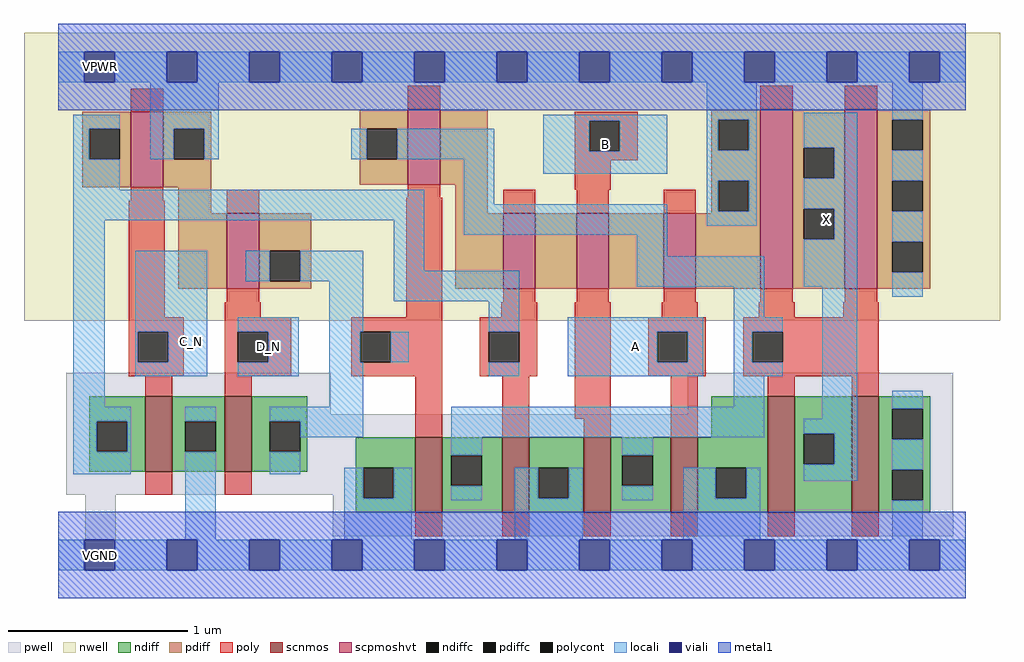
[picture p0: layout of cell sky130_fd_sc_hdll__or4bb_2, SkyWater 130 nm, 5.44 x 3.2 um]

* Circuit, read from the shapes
.subckt sky130_fd_sc_hdll__or4bb_2 A B C_N D_N VGND VNB VPB VPWR X
XM1 VGND C_N n1 VNB sky130_fd_pr__nfet_01v8 w=0.42 l=0.15
XM2 n2 D_N VGND VNB sky130_fd_pr__nfet_01v8 w=0.42 l=0.15
XM3 n3 n2 VGND VNB sky130_fd_pr__nfet_01v8 w=0.42 l=0.15
XM4 VGND n1 n3 VNB sky130_fd_pr__nfet_01v8 w=0.42 l=0.15
XM5 n3 B VGND VNB sky130_fd_pr__nfet_01v8 w=0.42 l=0.15
XM6 VGND A n3 VNB sky130_fd_pr__nfet_01v8 w=0.42 l=0.15
XM7 X n3 VGND VNB sky130_fd_pr__nfet_01v8 w=0.65 l=0.15 m=2
XM8 VPWR C_N n1 VPB sky130_fd_pr__pfet_01v8_hvt w=0.42 l=0.18
XM9 n2 D_N VPWR VPB sky130_fd_pr__pfet_01v8_hvt w=0.42 l=0.18
XM10 n4 n2 n3 VPB sky130_fd_pr__pfet_01v8_hvt w=0.42 l=0.18
XM11 n5 n1 n4 VPB sky130_fd_pr__pfet_01v8_hvt w=0.42 l=0.18
XM12 n6 B n5 VPB sky130_fd_pr__pfet_01v8_hvt w=0.42 l=0.18
XM13 VPWR A n6 VPB sky130_fd_pr__pfet_01v8_hvt w=0.42 l=0.18
XM14 X n3 VPWR VPB sky130_fd_pr__pfet_01v8_hvt w=1 l=0.18 m=2
.ends

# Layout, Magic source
magic
tech sky130A
magscale 1 2
<< nwell >>
rect -38 261 1050 582
<< pwell >>
rect 9 157 304 203
rect 702 157 998 203
rect 9 67 998 157
rect 30 -17 64 67
rect 306 21 998 67
<< scnmos >>
rect 97 93 127 177
rect 186 93 216 177
rect 398 47 428 131
rect 495 47 525 131
rect 586 47 616 131
rect 683 47 713 131
rect 791 47 821 177
rect 885 47 915 177
<< scpmoshvt >>
rect 81 410 117 494
rect 390 413 426 497
rect 188 297 224 381
rect 496 297 532 381
rect 578 297 614 381
rect 675 297 711 381
rect 783 297 819 497
rect 877 297 913 497
<< ndiff >>
rect 35 149 97 177
rect 35 115 43 149
rect 77 115 97 149
rect 35 93 97 115
rect 127 149 186 177
rect 127 115 142 149
rect 176 115 186 149
rect 127 93 186 115
rect 216 149 278 177
rect 216 115 236 149
rect 270 115 278 149
rect 728 131 791 177
rect 216 93 278 115
rect 332 97 398 131
rect 332 63 340 97
rect 374 63 398 97
rect 332 47 398 63
rect 428 111 495 131
rect 428 77 438 111
rect 472 77 495 111
rect 428 47 495 77
rect 525 97 586 131
rect 525 63 535 97
rect 569 63 586 97
rect 525 47 586 63
rect 616 111 683 131
rect 616 77 629 111
rect 663 77 683 111
rect 616 47 683 77
rect 713 97 791 131
rect 713 63 733 97
rect 767 63 791 97
rect 713 47 791 63
rect 821 135 885 177
rect 821 101 831 135
rect 865 101 885 135
rect 821 47 885 101
rect 915 163 972 177
rect 915 129 930 163
rect 964 129 972 163
rect 915 95 972 129
rect 915 61 930 95
rect 964 61 972 95
rect 915 47 972 61
<< pdiff >>
rect 27 475 81 494
rect 27 441 35 475
rect 69 441 81 475
rect 27 410 81 441
rect 117 475 171 494
rect 117 441 129 475
rect 163 441 171 475
rect 117 410 171 441
rect 336 475 390 497
rect 336 441 344 475
rect 378 441 390 475
rect 336 413 390 441
rect 426 413 479 497
rect 134 381 171 410
rect 134 297 188 381
rect 224 339 282 381
rect 224 305 236 339
rect 270 305 282 339
rect 224 297 282 305
rect 443 381 479 413
rect 728 485 783 497
rect 728 451 736 485
rect 770 451 783 485
rect 728 417 783 451
rect 728 383 736 417
rect 770 383 783 417
rect 728 381 783 383
rect 443 297 496 381
rect 532 297 578 381
rect 614 297 675 381
rect 711 297 783 381
rect 819 454 877 497
rect 819 420 831 454
rect 865 420 877 454
rect 819 386 877 420
rect 819 352 831 386
rect 865 352 877 386
rect 819 297 877 352
rect 913 485 972 497
rect 913 451 930 485
rect 964 451 972 485
rect 913 417 972 451
rect 913 383 930 417
rect 964 383 972 417
rect 913 349 972 383
rect 913 315 930 349
rect 964 315 972 349
rect 913 297 972 315
<< ndiffc >>
rect 43 115 77 149
rect 142 115 176 149
rect 236 115 270 149
rect 340 63 374 97
rect 438 77 472 111
rect 535 63 569 97
rect 629 77 663 111
rect 733 63 767 97
rect 831 101 865 135
rect 930 129 964 163
rect 930 61 964 95
<< pdiffc >>
rect 35 441 69 475
rect 129 441 163 475
rect 344 441 378 475
rect 236 305 270 339
rect 736 451 770 485
rect 736 383 770 417
rect 831 420 865 454
rect 831 352 865 386
rect 930 451 964 485
rect 930 383 964 417
rect 930 315 964 349
<< poly >>
rect 81 494 117 520
rect 390 497 426 523
rect 783 497 819 523
rect 877 497 913 523
rect 81 395 117 410
rect 79 265 119 395
rect 188 381 224 407
rect 390 398 426 413
rect 188 282 224 297
rect 186 265 226 282
rect 388 265 428 398
rect 576 484 646 494
rect 576 450 592 484
rect 626 450 646 484
rect 576 440 646 450
rect 576 407 616 440
rect 496 381 532 407
rect 578 381 614 407
rect 675 381 711 407
rect 496 282 532 297
rect 578 282 614 297
rect 675 282 711 297
rect 783 282 819 297
rect 877 282 913 297
rect 494 265 534 282
rect 79 249 140 265
rect 79 215 89 249
rect 123 215 140 249
rect 79 199 140 215
rect 186 249 260 265
rect 186 215 200 249
rect 234 215 260 249
rect 186 199 260 215
rect 327 249 428 265
rect 327 215 337 249
rect 371 215 428 249
rect 327 199 428 215
rect 470 249 534 265
rect 470 215 480 249
rect 514 215 534 249
rect 470 199 534 215
rect 97 177 127 199
rect 186 177 216 199
rect 398 131 428 199
rect 495 131 525 199
rect 576 152 616 282
rect 673 265 713 282
rect 781 265 821 282
rect 875 265 915 282
rect 658 249 722 265
rect 658 215 668 249
rect 702 215 722 249
rect 658 199 722 215
rect 764 249 915 265
rect 764 215 774 249
rect 808 215 915 249
rect 764 199 915 215
rect 586 131 616 152
rect 683 131 713 199
rect 791 177 821 199
rect 885 177 915 199
rect 97 67 127 93
rect 186 67 216 93
rect 398 21 428 47
rect 495 21 525 47
rect 586 21 616 47
rect 683 21 713 47
rect 791 21 821 47
rect 885 21 915 47
<< polycont >>
rect 592 450 626 484
rect 89 215 123 249
rect 200 215 234 249
rect 337 215 371 249
rect 480 215 514 249
rect 668 215 702 249
rect 774 215 808 249
<< locali >>
rect 0 527 29 561
rect 63 527 121 561
rect 155 527 213 561
rect 247 527 305 561
rect 339 527 397 561
rect 431 527 489 561
rect 523 527 581 561
rect 615 527 673 561
rect 707 527 765 561
rect 799 527 857 561
rect 891 527 949 561
rect 983 527 1012 561
rect 17 475 69 491
rect 17 441 35 475
rect 103 475 179 527
rect 541 484 679 491
rect 103 441 129 475
rect 163 441 179 475
rect 327 441 344 475
rect 378 441 486 475
rect 17 407 69 441
rect 17 373 408 407
rect 17 165 52 373
rect 86 249 166 339
rect 209 305 236 339
rect 270 305 340 339
rect 86 215 89 249
rect 123 215 166 249
rect 86 199 166 215
rect 200 249 268 265
rect 234 215 268 249
rect 200 199 268 215
rect 302 249 340 305
rect 374 317 408 373
rect 452 391 486 441
rect 541 450 592 484
rect 626 450 679 484
rect 541 425 679 450
rect 723 485 779 527
rect 723 451 736 485
rect 770 451 779 485
rect 723 417 779 451
rect 452 357 679 391
rect 723 383 736 417
rect 770 383 779 417
rect 723 367 779 383
rect 831 454 891 493
rect 865 420 891 454
rect 831 386 891 420
rect 645 333 679 357
rect 865 352 891 386
rect 374 283 514 317
rect 645 299 787 333
rect 831 299 891 352
rect 480 249 514 283
rect 753 265 787 299
rect 302 215 337 249
rect 371 215 391 249
rect 302 165 340 215
rect 480 199 514 215
rect 568 249 719 265
rect 568 215 668 249
rect 702 215 719 249
rect 568 199 719 215
rect 753 249 808 265
rect 753 215 774 249
rect 753 199 808 215
rect 753 165 787 199
rect 17 149 81 165
rect 17 115 43 149
rect 77 115 81 149
rect 17 90 81 115
rect 142 149 176 165
rect 142 17 176 115
rect 236 149 340 165
rect 270 131 340 149
rect 438 131 787 165
rect 852 152 891 299
rect 930 485 964 527
rect 930 417 964 451
rect 930 349 964 383
rect 930 288 964 315
rect 831 135 891 152
rect 236 90 270 115
rect 438 111 472 131
rect 319 63 340 97
rect 374 63 394 97
rect 319 17 394 63
rect 629 111 663 131
rect 438 61 472 77
rect 509 63 535 97
rect 569 63 585 97
rect 509 17 585 63
rect 865 101 891 135
rect 629 61 663 77
rect 697 63 733 97
rect 767 63 783 97
rect 831 83 891 101
rect 930 163 964 183
rect 930 95 964 129
rect 697 17 783 63
rect 930 17 964 61
rect 0 -17 29 17
rect 63 -17 121 17
rect 155 -17 213 17
rect 247 -17 305 17
rect 339 -17 397 17
rect 431 -17 489 17
rect 523 -17 581 17
rect 615 -17 673 17
rect 707 -17 765 17
rect 799 -17 857 17
rect 891 -17 949 17
rect 983 -17 1012 17
<< viali >>
rect 29 527 63 561
rect 121 527 155 561
rect 213 527 247 561
rect 305 527 339 561
rect 397 527 431 561
rect 489 527 523 561
rect 581 527 615 561
rect 673 527 707 561
rect 765 527 799 561
rect 857 527 891 561
rect 949 527 983 561
rect 29 -17 63 17
rect 121 -17 155 17
rect 213 -17 247 17
rect 305 -17 339 17
rect 397 -17 431 17
rect 489 -17 523 17
rect 581 -17 615 17
rect 673 -17 707 17
rect 765 -17 799 17
rect 857 -17 891 17
rect 949 -17 983 17
<< metal1 >>
rect 0 561 1012 592
rect 0 527 29 561
rect 63 527 121 561
rect 155 527 213 561
rect 247 527 305 561
rect 339 527 397 561
rect 431 527 489 561
rect 523 527 581 561
rect 615 527 673 561
rect 707 527 765 561
rect 799 527 857 561
rect 891 527 949 561
rect 983 527 1012 561
rect 0 496 1012 527
rect 0 17 1012 48
rect 0 -17 29 17
rect 63 -17 121 17
rect 155 -17 213 17
rect 247 -17 305 17
rect 339 -17 397 17
rect 431 -17 489 17
rect 523 -17 581 17
rect 615 -17 673 17
rect 707 -17 765 17
rect 799 -17 857 17
rect 891 -17 949 17
rect 983 -17 1012 17
rect 0 -48 1012 -17
<< labels >>
flabel locali s 568 199 719 265 0 FreeSans 400 0 0 0 A
port 1 nsew signal input
flabel locali s 840 357 874 391 0 FreeSans 400 0 0 0 X
port 9 nsew signal output
flabel locali s 541 425 679 491 0 FreeSans 400 0 0 0 B
port 2 nsew signal input
flabel locali s 200 199 268 265 0 FreeSans 400 0 0 0 D_N
port 4 nsew signal input
flabel locali s 132 221 166 255 0 FreeSans 400 0 0 0 C_N
port 3 nsew signal input
flabel metal1 s 30 527 64 561 0 FreeSans 200 0 0 0 VPWR
port 8 nsew power bidirectional
flabel metal1 s 30 -17 64 17 0 FreeSans 200 0 0 0 VGND
port 5 nsew ground bidirectional
flabel nwell s 30 527 64 561 0 FreeSans 200 0 0 0 VPB
port 7 nsew power bidirectional
flabel pwell s 30 -17 64 17 0 FreeSans 200 0 0 0 VNB
port 6 nsew ground bidirectional
rlabel comment s 0 0 0 0 4 or4bb_2
<< properties >>
string LEFsite unithd
string LEFclass CORE
string FIXED_BBOX 0 0 1012 544
string GDS_FILE $PDKPATH/libs.ref/sky130_fd_sc_hdll/gds/sky130_fd_sc_hdll.gds
string LEFsymmetry X Y R90
string GDS_END 2644348
string GDS_START 2636388
string LEFproperties maskLayoutSubType "abstract" prCellType "standard" originalViewName "layout"
<< end >>
